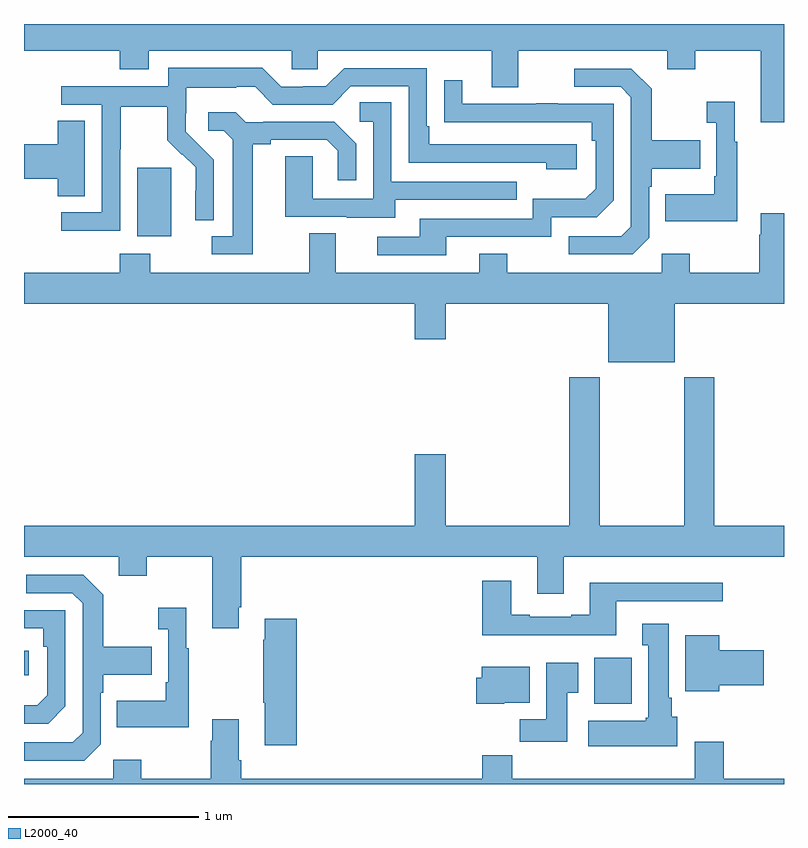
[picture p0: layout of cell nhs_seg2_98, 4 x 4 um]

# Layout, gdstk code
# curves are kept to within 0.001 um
import gdstk
lib = gdstk.Library(unit=1e-6, precision=1e-09)
def R(c, l, rs):  # rectangles x0, y0, x1, y1
    for r in rs: c.add(gdstk.rectangle(r[:2], r[2:], *l))
def P(c, l, *ps):  # polygons
    for p in ps: c.add(gdstk.Polygon(p, *l))
L2000_40 = (2000, 40)

nhs_seg2_98 = lib.new_cell('nhs_seg2_98')
R(nhs_seg2_98, L2000_40, [(118.001,620.222,118.198,620.464), (115,620.372,115.024,620.502), (115.595,622.682,115.774,623.043)])
P(nhs_seg2_98, L2000_40, [(119,623.8),(115,623.8),(115,623.66),(115.505,623.66),(115.505,623.561),(115.657,623.561),(115.657,623.66),(116.409,623.66),(116.409,623.562),(116.547,623.562),(116.547,623.66),(117.461,623.66),(117.461,623.466),(117.601,623.466),(117.601,623.66),(118.385,623.66),(118.385,623.561),(118.533,623.561),(118.533,623.66),(118.877,623.66),(118.877,623.283),(119,623.283)],
  [(115.506,623.14),(115.509,623.14),(115.509,623.364),(115.753,623.364),(115.753,623.189),(115.83,623.112),(115.833,623.115),(115.904,623.045),(115.904,622.922),(115.902,622.922),(115.902,622.768),(115.998,622.768),(115.998,623.086),(115.852,623.234),(115.852,623.331),(115.854,623.331),(115.854,623.465),(116.117,623.465),(116.117,623.469),(116.217,623.469),(116.31,623.376),(116.625,623.376),(116.721,623.472),(117.024,623.472),(117.024,623.07),(117.749,623.07),(117.749,623.036),(117.91,623.036),(117.91,623.166),(117.133,623.166),(117.133,623.263),(117.12,623.263),(117.12,623.568),(116.685,623.568),(116.589,623.472),(116.471,623.472),(116.471,623.469),(116.355,623.469),(116.255,623.569),(115.758,623.569),(115.758,623.472),(115.197,623.472),(115.197,623.376),(115.41,623.376),(115.41,622.809),(115.197,622.809),(115.197,622.711),(115.506,622.711)],
  [(118.29,622.674),(118.29,622.943),(118.303,622.943),(118.303,623.039),(118.559,623.039),(118.559,623.187),(118.303,623.187),(118.303,623.459),(118.197,623.565),(117.897,623.565),(117.897,623.469),(118.14,623.469),(118.194,623.415),(118.194,622.734),(118.143,622.683),(117.867,622.683),(117.867,622.587),(118.203,622.587)],
  [(117.223,622.68),(117.774,622.68),(117.774,622.782),(118.014,622.782),(118.104,622.872),(118.104,623.379),(117.809,623.379),(117.809,623.384),(117.697,623.384),(117.697,623.379),(117.307,623.379),(117.307,623.503),(117.211,623.503),(117.211,623.284),(117.988,623.283),(117.988,623.186),(118.008,623.186),(118.008,622.932),(117.955,622.879),(117.678,622.879),(117.678,622.776),(117.083,622.776),(117.083,622.68),(116.859,622.68),(116.859,622.584),(117.223,622.584)],
  [(118.753,623.179),(118.741,623.179),(118.741,623.392),(118.593,623.392),(118.593,623.279),(118.644,623.279),(118.644,622.999),(118.632,622.999),(118.632,622.903),(118.375,622.903),(118.375,622.763),(118.753,622.763)],
  [(116.953,622.875),(117.593,622.875),(117.593,622.971),(116.934,622.971),(116.934,623.387),(116.766,623.387),(116.766,623.286),(116.838,623.286),(116.838,622.881),(116.52,622.881),(116.52,623.105),(116.375,623.105),(116.375,622.785),(116.699,622.785),(116.699,622.781),(116.953,622.781)],
  [(116.203,623.168),(116.299,623.168),(116.299,623.19),(116.594,623.19),(116.651,623.133),(116.651,622.977),(116.748,622.977),(116.748,623.17),(116.632,623.286),(116.26,623.286),(116.26,623.283),(116.166,623.283),(116.114,623.335),(115.971,623.335),(115.971,623.238),(116.052,623.238),(116.099,623.191),(116.099,622.683),(115.989,622.683),(115.989,622.587),(116.203,622.587)],
  [(115.321,623.291),(115.178,623.291),(115.178,623.168),(115,623.168),(115,622.985),(115.178,622.985),(115.178,622.894),(115.321,622.894)],
  [(118.426,622.328),(119,622.328),(119,622.804),(118.877,622.804),(118.877,622.691),(118.87,622.691),(118.87,622.492),(118.503,622.492),(118.503,622.591),(118.356,622.591),(118.356,622.492),(117.543,622.492),(117.543,622.591),(117.395,622.591),(117.395,622.492),(116.641,622.492),(116.641,622.7),(116.501,622.7),(116.501,622.492),(115.665,622.492),(115.665,622.591),(115.505,622.591),(115.505,622.492),(115,622.492),(115,622.328),(117.056,622.328),(117.056,622.14),(117.22,622.14),(117.22,622.328),(118.076,622.328),(118.076,622.019),(118.426,622.019)],
  [(116.131,620.731),(116.144,620.731),(116.144,620.996),(117.701,620.996),(117.701,620.802),(117.841,620.802),(117.841,620.996),(119,620.996),(119,621.16),(118.634,621.16),(118.634,621.94),(118.474,621.94),(118.474,621.16),(118.029,621.16),(118.029,621.94),(117.869,621.94),(117.869,621.16),(117.22,621.16),(117.22,621.535),(117.056,621.535),(117.056,621.16),(115,621.16),(115,620.996),(115.499,620.996),(115.499,620.897),(115.647,620.897),(115.647,620.996),(115.991,620.996),(115.991,620.619),(116.131,620.619)],
  [(115.404,620.01),(115.404,620.279),(115.417,620.279),(115.417,620.375),(115.673,620.375),(115.673,620.523),(115.417,620.523),(115.417,620.795),(115.311,620.901),(115.011,620.901),(115.011,620.805),(115.254,620.805),(115.308,620.751),(115.308,620.07),(115.257,620.019),(115,620.019),(115,619.923),(115.317,619.923)],
  [(118.117,620.763),(118.678,620.763),(118.678,620.86),(117.977,620.86),(117.977,620.692),(117.881,620.692),(117.881,620.679),(117.661,620.679),(117.661,620.692),(117.565,620.692),(117.565,620.869),(117.413,620.869),(117.413,620.582),(118.117,620.582)],
  [(115.867,620.515),(115.855,620.515),(115.855,620.728),(115.707,620.728),(115.707,620.615),(115.758,620.615),(115.758,620.335),(115.746,620.335),(115.746,620.239),(115.489,620.239),(115.489,620.099),(115.867,620.099)],
  [(115.218,620.208),(115.218,620.715),(115,620.715),(115,620.619),(115.102,620.619),(115.102,620.522),(115.122,620.522),(115.122,620.268),(115.069,620.215),(115,620.215),(115,620.118),(115.128,620.118)],
  [(116.435,620.671),(116.267,620.671),(116.267,620.558),(116.26,620.558),(116.26,620.227),(116.267,620.227),(116.267,620.004),(116.435,620.004)],
  [(118.438,620.154),(118.408,620.154),(118.408,620.254),(118.393,620.254),(118.393,620.644),(118.253,620.644),(118.253,620.531),(118.286,620.531),(118.286,620.148),(118.273,620.148),(118.273,620.134),(117.969,620.134),(117.969,620),(118.438,620)],
  [(118.66,620.321),(118.894,620.321),(118.894,620.504),(118.66,620.504),(118.66,620.584),(118.481,620.584),(118.481,620.288),(118.66,620.288)],
  [(117.859,620.281),(117.916,620.281),(117.916,620.437),(117.749,620.437),(117.749,620.14),(117.61,620.14),(117.61,620.022),(117.859,620.022)],
  [(117.528,620.228),(117.661,620.228),(117.661,620.416),(117.41,620.416),(117.41,620.358),(117.38,620.358),(117.38,620.222),(117.528,620.222)],
  [(119,619.828),(118.682,619.828),(118.682,620.023),(118.529,620.023),(118.529,619.828),(117.569,619.828),(117.569,619.952),(117.413,619.952),(117.413,619.828),(116.144,619.828),(116.144,619.924),(116.131,619.924),(116.131,620.14),(115.991,620.14),(115.991,620.027),(115.984,620.027),(115.984,619.828),(115.617,619.828),(115.617,619.927),(115.47,619.927),(115.47,619.828),(115,619.828),(115,619.8),(119,619.8)])

lib.write_gds('nhs_seg2_98.gds')
